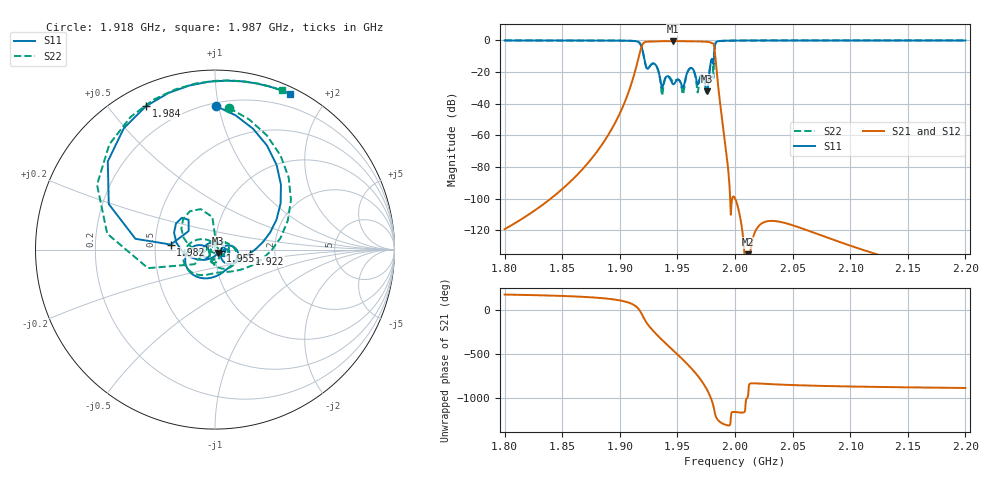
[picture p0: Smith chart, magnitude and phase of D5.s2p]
! Touchstone file exported from HFSS 2023.1.0
!  File:  E:/1.Project/CoxailF/seventhree.aedt
!  Generated:  10:56:46 %x4E0B%x5348  5%x6708 24, 2023
!  Design:  Resonator_out8
!  Project:  seventhree
!  Setup:  Setup1
!  Solution:  Sweep
! Variables:
!  Hin1 = 26mm
!  Hout = 29mm
!  L12 = 14.8mm
!  L13 = 14.75mm
!  L23 = 6.95mm
!  L34 = 12.5mm
!  L45 = 7.7mm
!  L46 = 3mm
!  L56 = 8mm
!  L67 = 12.5mm
!  L78 = 9mm
!  L79 = 9.58mm
!  L89 = 15.85mm
!  Rin = 5mm
!  Rin2 = 4mm
!  Rout = 15mm
!  Rport = 1.15mm
!  Rport2 = 3mm
!  Rportin = 0.5mm
!  d = 3mm
!  d01 = 2.9mm
!  d02 = 3.52mm
!  d03 = 3.66mm
!  d04 = 3.7mm
!  d05 = 3.705mm
!  d06 = 3.7mm
!  d07 = 3.662mm
!  d08 = 3.544mm
!  d09 = 2.91mm
!  d12 = 18mm
!  d12x = 15.5mm
!  d12y = 25mm
!  d23 = 18mm
!  d34 = 30mm
!  hport = 10.4mm
!  hport2 = 10.4mm
!  lport = 12mm
!  lport2 = 1mm
!  lport_2 = 12mm
!  m = 2mm
!  w12 = 12mm
!  w13 = 10mm
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# GHz S MA R 50.000000
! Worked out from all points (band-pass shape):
!   1001 points, 1.8 GHz to 2.2 GHz, reference 50 ohm
!   highest |S21| = -0.45 dB at 1.946 GHz (marker M1); lowest = -152.9 dB at 2.012 GHz (marker M2)
!   |S21| within 3 dB of the highest: 1.919 GHz to 1.982 GHz (62.71 MHz wide, 3.22 % of centre)
!   lowest |S11| = -32.2 dB at 1.976 GHz (marker M3), VSWR 1.05, Z = 51.5 - j1.98 ohm
!   |S11| at or under -10 dB: 1.921 GHz to 1.982 GHz (60.92 MHz wide, 3.12 % of centre)
!   |S22| runs from -34.8 to 0.0 dB; largest |S21 - S12| = 9.4e-13
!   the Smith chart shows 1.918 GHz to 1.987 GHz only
!   S11 on the Smith chart (normalised r, x): 1.918 GHz: 0.22, +0.98; 1.922 GHz: 1.48, -0.07; 1.955 GHz: 1.06, -0.01; 1.982 GHz: 0.60, +0.04; 1.984 GHz: 0.08, +0.63; 1.987 GHz: 0.07, +1.59
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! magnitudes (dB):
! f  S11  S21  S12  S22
! 1.8 GHz  0.0  -119.3  -119.3  0.0
! 1.867 GHz  0.0  -82.0  -82.0  0.0
! 1.897 GHz  -0.1  -50.3  -50.3  -0.1
! 1.918 GHz  -1.9  -7.0  -7.0  -2.0
! 1.922 GHz  -14.2  -1.0  -1.0  -14.5
! 1.934 GHz  -19.5  -0.5  -0.5  -19.8
! 1.937 GHz  -30.0  -0.5  -0.5  -34.8
! 1.946 GHz  -27.7  -0.5  -0.5  -26.1
! 1.955 GHz  -30.0  -0.5  -0.5  -34.1
! 1.962 GHz  -17.4  -0.6  -0.6  -17.5
! 1.967 GHz  -27.3  -0.6  -0.6  -31.3
! 1.971 GHz  -21.8  -0.7  -0.7  -22.1
! 1.976 GHz  -32.2  -0.8  -0.8  -34.0
! 1.982 GHz  -12.1  -2.6  -2.6  -17.1
! 1.984 GHz  -1.0  -16.0  -16.0  -1.1
! 1.987 GHz  -0.3  -40.4  -40.4  -0.3
! 1.994 GHz  -0.1  -81.1  -81.1  -0.1
! 2 GHz  -0.1  -99.7  -99.7  -0.1
! 2.012 GHz  0.0  -152.9  -152.9  -0.1
! 2.067 GHz  0.0  -121.1  -121.1  0.0
! 2.134 GHz  0.0  -137.4  -137.4  0.0
! 2.2 GHz  0.0  -149.9  -149.9  0.0
